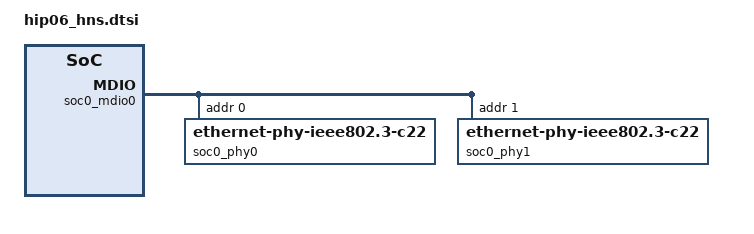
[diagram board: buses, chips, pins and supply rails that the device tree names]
	soc0: soc@000000000 {
		#address-cells = <2>;
		#size-cells = <2>;
		device_type = "soc";
		compatible = "simple-bus";
		ranges = <0x0 0x0 0x0 0x0 0x1 0x0>;
		chip-id = <0>;

		soc0_mdio0: mdio@603c0000 {
			#address-cells = <1>;
			#size-cells = <0>;
			compatible = "hisilicon,hns-mdio";
			reg = <0x0 0x603c0000 0x0 0x10000>;
			subctrl-vbase = <&peri_c_subctrl>;

			soc0_phy0: ethernet-phy@0 {
				reg = <0x0>;
				compatible = "ethernet-phy-ieee802.3-c22";
			};
			soc0_phy1: ethernet-phy@1 {
				reg = <0x1>;
				compatible = "ethernet-phy-ieee802.3-c22";
			};
		};

		dsa: dsa@c7000000 {
			compatible = "hisilicon,hns-dsaf-v2";
			dsa_name = "dsaf0";
			mode = "6port-16rss";

			reg = <0x0 0xC2000000 0x0 0x300000
			       0x0 0xc5000000 0x0 0x890000
			       0x0 0xc7000000 0x0 0x60000
				>;

			phy-handle = <0 0 0 0 &soc0_phy0 &soc0_phy1 0 0>;
			hisilicon,dsaf-syscon = <&dsaf_subctl>;
			interrupts-extended =
			<&mbigen_dsa_srv 576 1>,<&mbigen_dsa_srv 577 1>,
			<&mbigen_dsa_srv 578 1>,<&mbigen_dsa_srv 579 1>,
			<&mbigen_dsa_srv 580 1>,<&mbigen_dsa_srv 581 1>,
			<&mbigen_dsa_srv 582 1>,<&mbigen_dsa_srv 583 1>,
			<&mbigen_dsa_srv 584 1>,<&mbigen_dsa_srv 585 1>,
			<&mbigen_dsa_srv 586 1>,<&mbigen_dsa_srv 587 1>,
			<&mbigen_dsa_srv 588 1>,
			<&mbigen_dsa_srv 589 1>,<&mbigen_dsa_srv 590 1>,
			<&mbigen_dsa_srv 591 1>,<&mbigen_dsa_srv 592 1>,
			<&mbigen_dsa_srv 593 1>,<&mbigen_dsa_srv 594 1>,
			<&mbigen_dsa_srv 595 1>,<&mbigen_dsa_srv 596 1>,
			<&mbigen_dsa_srv 597 1>,<&mbigen_dsa_srv 598 1>,
			<&mbigen_dsa_srv 599 1>,<&mbigen_dsa_srv 600 1>,
			 /* index 25/26/27 ring0 tx/rx/doorbell*/
			<&mbigen_dsa_srv 960 1>,<&mbigen_dsa_srv 961 1>,
			<&mbigen_dsa_srv 962 1>,<&mbigen_dsa_srv 963 1>,
			<&mbigen_dsa_srv 964 1>,<&mbigen_dsa_srv 965 1>,
			<&mbigen_dsa_srv 966 1>,<&mbigen_dsa_srv 967 1>,
			<&mbigen_dsa_srv 968 1>,<&mbigen_dsa_srv 969 1>,
			<&mbigen_dsa_srv 970 1>,<&mbigen_dsa_srv 971 1>,
			<&mbigen_dsa_srv 972 1>,<&mbigen_dsa_srv 973 1>,
			<&mbigen_dsa_srv 974 1>,<&mbigen_dsa_srv 975 1>,
			<&mbigen_dsa_srv 976 1>,<&mbigen_dsa_srv 977 1>,
			<&mbigen_dsa_srv 978 1>,<&mbigen_dsa_srv 979 1>,
			<&mbigen_dsa_srv 980 1>,<&mbigen_dsa_srv 981 1>,
			<&mbigen_dsa_srv 982 1>,<&mbigen_dsa_srv 983 1>,
			<&mbigen_dsa_srv 984 1>,<&mbigen_dsa_srv 985 1>,
			<&mbigen_dsa_srv 986 1>,<&mbigen_dsa_srv 987 1>,
			<&mbigen_dsa_srv 988 1>,<&mbigen_dsa_srv 989 1>,
			<&mbigen_dsa_srv 990 1>,<&mbigen_dsa_srv 991 1>,
			<&mbigen_dsa_srv 992 1>,<&mbigen_dsa_srv 993 1>,
			<&mbigen_dsa_srv 994 1>,<&mbigen_dsa_srv 995 1>,
			<&mbigen_dsa_srv 996 1>,<&mbigen_dsa_srv 997 1>,
			<&mbigen_dsa_srv 998 1>,<&mbigen_dsa_srv 999 1>,
			<&mbigen_dsa_srv 1000 1>,<&mbigen_dsa_srv 1001 1>,
			<&mbigen_dsa_srv 1002 1>,<&mbigen_dsa_srv 1003 1>,
			<&mbigen_dsa_srv 1004 1>,<&mbigen_dsa_srv 1005 1>,
			<&mbigen_dsa_srv 1006 1>,<&mbigen_dsa_srv 1007 1>,
			<&mbigen_dsa_srv 1008 1>,<&mbigen_dsa_srv 1009 1>,
			<&mbigen_dsa_srv 1010 1>,<&mbigen_dsa_srv 1011 1>,
			<&mbigen_dsa_srv 1012 1>,<&mbigen_dsa_srv 1013 1>,
			<&mbigen_dsa_srv 1014 1>,<&mbigen_dsa_srv 1015 1>,
			<&mbigen_dsa_srv 1016 1>,<&mbigen_dsa_srv 1017 1>,
			<&mbigen_dsa_srv 1018 1>,<&mbigen_dsa_srv 1019 1>,
			<&mbigen_dsa_srv 1020 1>,<&mbigen_dsa_srv 1021 1>,
			<&mbigen_dsa_srv 1022 1>,<&mbigen_dsa_srv 1023 1>,
			<&mbigen_dsa_srv 1024 1>,<&mbigen_dsa_srv 1025 1>,
			<&mbigen_dsa_srv 1026 1>,<&mbigen_dsa_srv 1027 1>,
			<&mbigen_dsa_srv 1028 1>,<&mbigen_dsa_srv 1029 1>,
			<&mbigen_dsa_srv 1030 1>,<&mbigen_dsa_srv 1031 1>,
			<&mbigen_dsa_srv 1032 1>,<&mbigen_dsa_srv 1033 1>,
			<&mbigen_dsa_srv 1034 1>,<&mbigen_dsa_srv 1035 1>,
			<&mbigen_dsa_srv 1036 1>,<&mbigen_dsa_srv 1037 1>,
			<&mbigen_dsa_srv 1038 1>,<&mbigen_dsa_srv 1039 1>,
			<&mbigen_dsa_srv 1040 1>,<&mbigen_dsa_srv 1041 1>,
			<&mbigen_dsa_srv 1042 1>,<&mbigen_dsa_srv 1043 1>,
			<&mbigen_dsa_srv 1044 1>,<&mbigen_dsa_srv 1045 1>,
			<&mbigen_dsa_srv 1046 1>,<&mbigen_dsa_srv 1047 1>,
			<&mbigen_dsa_srv 1048 1>,<&mbigen_dsa_srv 1049 1>,
			<&mbigen_dsa_srv 1050 1>,<&mbigen_dsa_srv 1051 1>,
			<&mbigen_dsa_srv 1052 1>,<&mbigen_dsa_srv 1053 1>,
			<&mbigen_dsa_srv 1054 1>,<&mbigen_dsa_srv 1055 1>,
			<&mbigen_dsa_srv 1056 1>,<&mbigen_dsa_srv 1057 1>,
			<&mbigen_dsa_srv 1058 1>,<&mbigen_dsa_srv 1059 1>,
			<&mbigen_dsa_srv 1060 1>,<&mbigen_dsa_srv 1061 1>,
			<&mbigen_dsa_srv 1062 1>,<&mbigen_dsa_srv 1063 1>,
			<&mbigen_dsa_srv 1064 1>,<&mbigen_dsa_srv 1065 1>,
			<&mbigen_dsa_srv 1066 1>,<&mbigen_dsa_srv 1067 1>,
			<&mbigen_dsa_srv 1068 1>,<&mbigen_dsa_srv 1069 1>,
			<&mbigen_dsa_srv 1070 1>,<&mbigen_dsa_srv 1071 1>,
			<&mbigen_dsa_srv 1072 1>,<&mbigen_dsa_srv 1073 1>,
			<&mbigen_dsa_srv 1074 1>,<&mbigen_dsa_srv 1075 1>,
			<&mbigen_dsa_srv 1076 1>,<&mbigen_dsa_srv 1077 1>,
			<&mbigen_dsa_srv 1078 1>,<&mbigen_dsa_srv 1079 1>,
			<&mbigen_dsa_srv 1080 1>,<&mbigen_dsa_srv 1081 1>,
			<&mbigen_dsa_srv 1082 1>,<&mbigen_dsa_srv 1083 1>,
			<&mbigen_dsa_srv 1084 1>,<&mbigen_dsa_srv 1085 1>,
			<&mbigen_dsa_srv 1086 1>,<&mbigen_dsa_srv 1087 1>,
			<&mbigen_dsa_srv 1088 1>,<&mbigen_dsa_srv 1089 1>,
			<&mbigen_dsa_srv 1090 1>,<&mbigen_dsa_srv 1091 1>,
			<&mbigen_dsa_srv 1092 1>,<&mbigen_dsa_srv 1093 1>,
			<&mbigen_dsa_srv 1094 1>,<&mbigen_dsa_srv 1095 1>,
			<&mbigen_dsa_srv 1096 1>,<&mbigen_dsa_srv 1097 1>,
			<&mbigen_dsa_srv 1098 1>,<&mbigen_dsa_srv 1099 1>,
			<&mbigen_dsa_srv 1100 1>,<&mbigen_dsa_srv 1101 1>,
			<&mbigen_dsa_srv 1102 1>,<&mbigen_dsa_srv 1103 1>,
			<&mbigen_dsa_srv 1104 1>,<&mbigen_dsa_srv 1105 1>,
			<&mbigen_dsa_srv 1106 1>,<&mbigen_dsa_srv 1107 1>,
			<&mbigen_dsa_srv 1108 1>,<&mbigen_dsa_srv 1109 1>,
			<&mbigen_dsa_srv 1110 1>,<&mbigen_dsa_srv 1111 1>,
			<&mbigen_dsa_srv 1112 1>,<&mbigen_dsa_srv 1113 1>,
			<&mbigen_dsa_srv 1114 1>,<&mbigen_dsa_srv 1115 1>,
			<&mbigen_dsa_srv 1116 1>,<&mbigen_dsa_srv 1117 1>,
			<&mbigen_dsa_srv 1118 1>,<&mbigen_dsa_srv 1119 1>,
			<&mbigen_dsa_srv 1120 1>,<&mbigen_dsa_srv 1121 1>,
			<&mbigen_dsa_srv 1122 1>,<&mbigen_dsa_srv 1123 1>,
			<&mbigen_dsa_srv 1124 1>,<&mbigen_dsa_srv 1125 1>,
			<&mbigen_dsa_srv 1126 1>,<&mbigen_dsa_srv 1127 1>,
			<&mbigen_dsa_srv 1128 1>,<&mbigen_dsa_srv 1129 1>,
			<&mbigen_dsa_srv 1130 1>,<&mbigen_dsa_srv 1131 1>,
			<&mbigen_dsa_srv 1132 1>,<&mbigen_dsa_srv 1133 1>,
			<&mbigen_dsa_srv 1134 1>,<&mbigen_dsa_srv 1135 1>,
			<&mbigen_dsa_srv 1136 1>,<&mbigen_dsa_srv 1137 1>,
			<&mbigen_dsa_srv 1138 1>,<&mbigen_dsa_srv 1139 1>,
			<&mbigen_dsa_srv 1140 1>,<&mbigen_dsa_srv 1141 1>,
			<&mbigen_dsa_srv 1142 1>,<&mbigen_dsa_srv 1143 1>,
			<&mbigen_dsa_srv 1144 1>,<&mbigen_dsa_srv 1145 1>,
			<&mbigen_dsa_srv 1146 1>,<&mbigen_dsa_srv 1147 1>,
			<&mbigen_dsa_srv 1148 1>,<&mbigen_dsa_srv 1149 1>,
			<&mbigen_dsa_srv 1150 1>,<&mbigen_dsa_srv 1151 1>,
			<&mbigen_dsa_srv 1152 1>,<&mbigen_dsa_srv 1153 1>,
			<&mbigen_dsa_srv 1154 1>,<&mbigen_dsa_srv 1155 1>,
			<&mbigen_dsa_srv 1156 1>,<&mbigen_dsa_srv 1157 1>,
			<&mbigen_dsa_srv 1158 1>,<&mbigen_dsa_srv 1159 1>,
			<&mbigen_dsa_srv 1160 1>,<&mbigen_dsa_srv 1161 1>,
			<&mbigen_dsa_srv 1162 1>,<&mbigen_dsa_srv 1163 1>,
			<&mbigen_dsa_srv 1164 1>,<&mbigen_dsa_srv 1165 1>,
			<&mbigen_dsa_srv 1166 1>,<&mbigen_dsa_srv 1167 1>,
			<&mbigen_dsa_srv 1168 1>,<&mbigen_dsa_srv 1169 1>,
			<&mbigen_dsa_srv 1170 1>,<&mbigen_dsa_srv 1171 1>,
			<&mbigen_dsa_srv 1172 1>,<&mbigen_dsa_srv 1173 1>,
			<&mbigen_dsa_srv 1174 1>,<&mbigen_dsa_srv 1175 1>,
			<&mbigen_dsa_srv 1176 1>,<&mbigen_dsa_srv 1177 1>,
			<&mbigen_dsa_srv 1178 1>,<&mbigen_dsa_srv 1179 1>,
			<&mbigen_dsa_srv 1180 1>,<&mbigen_dsa_srv 1181 1>,
			<&mbigen_dsa_srv 1182 1>,<&mbigen_dsa_srv 1183 1>,
			<&mbigen_dsa_srv 1184 1>,<&mbigen_dsa_srv 1185 1>,
			<&mbigen_dsa_srv 1186 1>,<&mbigen_dsa_srv 1187 1>,
			<&mbigen_dsa_srv 1188 1>,<&mbigen_dsa_srv 1189 1>,
			<&mbigen_dsa_srv 1190 1>,<&mbigen_dsa_srv 1191 1>,
			<&mbigen_dsa_srv 1192 1>,<&mbigen_dsa_srv 1193 1>,
			<&mbigen_dsa_srv 1194 1>,<&mbigen_dsa_srv 1195 1>,
			<&mbigen_dsa_srv 1196 1>,<&mbigen_dsa_srv 1197 1>,
			<&mbigen_dsa_srv 1198 1>,<&mbigen_dsa_srv 1199 1>,
			<&mbigen_dsa_srv 1200 1>,<&mbigen_dsa_srv 1201 1>,
			<&mbigen_dsa_srv 1202 1>,<&mbigen_dsa_srv 1203 1>,
			<&mbigen_dsa_srv 1204 1>,<&mbigen_dsa_srv 1205 1>,
			<&mbigen_dsa_srv 1206 1>,<&mbigen_dsa_srv 1207 1>,
			<&mbigen_dsa_srv 1208 1>,<&mbigen_dsa_srv 1209 1>,
			<&mbigen_dsa_srv 1210 1>,<&mbigen_dsa_srv 1211 1>,
			<&mbigen_dsa_srv 1212 1>,<&mbigen_dsa_srv 1213 1>,
			<&mbigen_dsa_srv 1214 1>,<&mbigen_dsa_srv 1215 1>,
			<&mbigen_dsa_srv 1216 1>,<&mbigen_dsa_srv 1217 1>,
			<&mbigen_dsa_srv 1218 1>,<&mbigen_dsa_srv 1219 1>,
			<&mbigen_dsa_srv 1220 1>,<&mbigen_dsa_srv 1221 1>,
			<&mbigen_dsa_srv 1222 1>,<&mbigen_dsa_srv 1223 1>,
			<&mbigen_dsa_srv 1224 1>,<&mbigen_dsa_srv 1225 1>,
			<&mbigen_dsa_srv 1226 1>,<&mbigen_dsa_srv 1227 1>,
			<&mbigen_dsa_srv 1228 1>,<&mbigen_dsa_srv 1229 1>,
			<&mbigen_dsa_srv 1230 1>,<&mbigen_dsa_srv 1231 1>,
			<&mbigen_dsa_srv 1232 1>,<&mbigen_dsa_srv 1233 1>,
			<&mbigen_dsa_srv 1234 1>,<&mbigen_dsa_srv 1235 1>,
			<&mbigen_dsa_srv 1236 1>,<&mbigen_dsa_srv 1237 1>,
			<&mbigen_dsa_srv 1238 1>,<&mbigen_dsa_srv 1239 1>,
			<&mbigen_dsa_srv 1240 1>,<&mbigen_dsa_srv 1241 1>,
			<&mbigen_dsa_srv 1242 1>,<&mbigen_dsa_srv 1243 1>,
			<&mbigen_dsa_srv 1244 1>,<&mbigen_dsa_srv 1245 1>,
			<&mbigen_dsa_srv 1246 1>,<&mbigen_dsa_srv 1247 1>,
			<&mbigen_dsa_srv 1248 1>,<&mbigen_dsa_srv 1249 1>,
			<&mbigen_dsa_srv 1250 1>,<&mbigen_dsa_srv 1251 1>,
			<&mbigen_dsa_srv 1252 1>,<&mbigen_dsa_srv 1253 1>,
			<&mbigen_dsa_srv 1254 1>,<&mbigen_dsa_srv 1255 1>,
			<&mbigen_dsa_srv 1256 1>,<&mbigen_dsa_srv 1257 1>,
			<&mbigen_dsa_srv 1258 1>,<&mbigen_dsa_srv 1259 1>,
			<&mbigen_dsa_srv 1260 1>,<&mbigen_dsa_srv 1261 1>,
			<&mbigen_dsa_srv 1262 1>,<&mbigen_dsa_srv 1263 1>,
			<&mbigen_dsa_srv 1264 1>,<&mbigen_dsa_srv 1265 1>,
			<&mbigen_dsa_srv 1266 1>,<&mbigen_dsa_srv 1267 1>,
			<&mbigen_dsa_srv 1268 1>,<&mbigen_dsa_srv 1269 1>,
			<&mbigen_dsa_srv 1270 1>,<&mbigen_dsa_srv 1271 1>,
			<&mbigen_dsa_srv 1272 1>,<&mbigen_dsa_srv 1273 1>,
			<&mbigen_dsa_srv 1274 1>,<&mbigen_dsa_srv 1275 1>,
			<&mbigen_dsa_srv 1276 1>,<&mbigen_dsa_srv 1277 1>,
			<&mbigen_dsa_srv 1278 1>,<&mbigen_dsa_srv 1279 1>,
			<&mbigen_dsa_srv 1280 1>,<&mbigen_dsa_srv 1281 1>,
			<&mbigen_dsa_srv 1282 1>,<&mbigen_dsa_srv 1283 1>,
			<&mbigen_dsa_srv 1284 1>,<&mbigen_dsa_srv 1285 1>,
			<&mbigen_dsa_srv 1286 1>,<&mbigen_dsa_srv 1287 1>,
			<&mbigen_dsa_srv 1288 1>,<&mbigen_dsa_srv 1289 1>,
			<&mbigen_dsa_srv 1290 1>,<&mbigen_dsa_srv 1291 1>,
			<&mbigen_dsa_srv 1292 1>,<&mbigen_dsa_srv 1293 1>,
			<&mbigen_dsa_srv 1294 1>,<&mbigen_dsa_srv 1295 1>,
			<&mbigen_dsa_srv 1296 1>,<&mbigen_dsa_srv 1297 1>,
			<&mbigen_dsa_srv 1298 1>,<&mbigen_dsa_srv 1299 1>,
			<&mbigen_dsa_srv 1300 1>,<&mbigen_dsa_srv 1301 1>,
			<&mbigen_dsa_srv 1302 1>,<&mbigen_dsa_srv 1303 1>,
			<&mbigen_dsa_srv 1304 1>,<&mbigen_dsa_srv 1305 1>,
			<&mbigen_dsa_srv 1306 1>,<&mbigen_dsa_srv 1307 1>,
			<&mbigen_dsa_srv 1308 1>,<&mbigen_dsa_srv 1309 1>,
			<&mbigen_dsa_srv 1310 1>,<&mbigen_dsa_srv 1311 1>,
			<&mbigen_dsa_srv 1312 1>,<&mbigen_dsa_srv 1313 1>,
			<&mbigen_dsa_srv 1314 1>,<&mbigen_dsa_srv 1315 1>,
			<&mbigen_dsa_srv 1316 1>,<&mbigen_dsa_srv 1317 1>,
			<&mbigen_dsa_srv 1318 1>,<&mbigen_dsa_srv 1319 1>,
			<&mbigen_dsa_srv 1320 1>,<&mbigen_dsa_srv 1321 1>,
			<&mbigen_dsa_srv 1322 1>,<&mbigen_dsa_srv 1323 1>,
			<&mbigen_dsa_srv 1324 1>,<&mbigen_dsa_srv 1325 1>,
			<&mbigen_dsa_srv 1326 1>,<&mbigen_dsa_srv 1327 1>,
			<&mbigen_dsa_srv 1328 1>,<&mbigen_dsa_srv 1329 1>,
			<&mbigen_dsa_srv 1330 1>,<&mbigen_dsa_srv 1331 1>,
			<&mbigen_dsa_srv 1332 1>,<&mbigen_dsa_srv 1333 1>,
			<&mbigen_dsa_srv 1334 1>,<&mbigen_dsa_srv 1335 1>,
			<&mbigen_dsa_srv 1336 1>,<&mbigen_dsa_srv 1337 1>,
			<&mbigen_dsa_srv 1338 1>,<&mbigen_dsa_srv 1339 1>,
			<&mbigen_dsa_srv 1340 1>,<&mbigen_dsa_srv 1341 1>,
			<&mbigen_dsa_srv 1342 1>,<&mbigen_dsa_srv 1343 1>,
			 /* index = debug0 tx/rx */
			<&mbigen_dsa_dbg0 704 1>,<&mbigen_dsa_dbg0 705 1>,
			<&mbigen_dsa_dbg0 706 4>,<&mbigen_dsa_dbg0 707 4>,
			<&mbigen_dsa_dbg0 708 4>,<&mbigen_dsa_dbg0 709 4>,
			<&mbigen_dsa_dbg0 710 4>,<&mbigen_dsa_dbg0 711 4>,
			<&mbigen_dsa_dbg0 712 4>,
			/* index = 418 debug1 tx/rx */
			<&mbigen_dsa_dbg1 713 1>,<&mbigen_dsa_dbg1 714 1>,
			<&mbigen_dsa_dbg1 715 4>,<&mbigen_dsa_dbg1 716 4>,
			<&mbigen_dsa_dbg1 717 4>,<&mbigen_dsa_dbg1 718 4>,
			<&mbigen_dsa_dbg1 719 4>,<&mbigen_dsa_dbg1 720 4>,
			<&mbigen_dsa_dbg1 721 4>,
			/* xbar int index=427 */
			<&mbigen_dsa_xbar 755 4>,<&mbigen_dsa_xbar 756 4>,
			<&mbigen_dsa_xbar 757 4>,<&mbigen_dsa_xbar 758 4>,
			<&mbigen_dsa_xbar 759 4>,<&mbigen_dsa_xbar 760 4>,
			<&mbigen_dsa_xbar 761 4>,<&mbigen_dsa_xbar 762 4>,
			<&mbigen_dsa_xbar 763 4>,<&mbigen_dsa_xbar 764 4>,
			<&mbigen_dsa_xbar 765 4>,<&mbigen_dsa_xbar 766 4>,
			<&mbigen_dsa_xbar 767 4>,<&mbigen_dsa_xbar 768 4>,
			<&mbigen_dsa_xbar 769 4>,<&mbigen_dsa_xbar 770 4>,
			<&mbigen_dsa_xbar 771 4>,<&mbigen_dsa_xbar 772 4>;
			buf-size = <4096>;
			desc-num = <1024>;
			dma-coherent;

		};
		eth0: ethernet@4{
			compatible = "hisilicon,hns-nic-v2";
			ae-name = "dsaf0";
			port-id = <6>;
			status = "disabled";
			local-mac-address = [00 00 00 01 ff 00];
			dma-coherent; 
		};
		eth1: ethernet@5{
			compatible = "hisilicon,hns-nic-v2";
			ae-name = "dsaf0";
			port-id = <7>;
			local-mac-address = [00 00 00 01 ff 01];
			status = "disabled";
			dma-coherent;
		};
		eth2: ethernet@0{
			compatible = "hisilicon,hns-nic-v2";
			ae-name = "dsaf0";
			port-id = <2>;
			local-mac-address = [00 00 00 01 ff 02];
			status = "disabled";
			dma-coherent;
		};
		eth3: ethernet@1{
			compatible = "hisilicon,hns-nic-v2";
			ae-name = "dsaf0";
			port-id = <3>;
			local-mac-address = [00 00 00 01 ff 03];
			status = "disabled";
			dma-coherent;
		};
		eth4: ethernet@2{
			compatible = "hisilicon,hns-nic-v2";
			ae-name = "dsaf0";
			port-id = <4>;
			local-mac-address = [00 00 00 01 ff 04];
			status = "disabled";
			dma-coherent;
		};
		eth5: ethernet@3{
			compatible = "hisilicon,hns-nic-v2";
			ae-name = "dsaf0";
			port-id = <5>;
			local-mac-address = [00 00 00 01 ff 05];
			status = "disabled";
			dma-coherent;
		};
		eth6: ethernet@6{
			compatible = "hisilicon,hns-nic-v2";
			ae-name = "dsaf0";
			port-id = <0>;
			local-mac-address = [00 00 00 01 ff 06];
			status = "disabled";
			dma-coherent;
		};
		eth7: ethernet@7{
			compatible = "hisilicon,hns-nic-v2";
			ae-name = "dsaf0";
			port-id = <1>;
			local-mac-address = [00 00 00 01 ff 07];
			status = "disabled";
			dma-coherent;
		};

	}; /*soc 0*/
